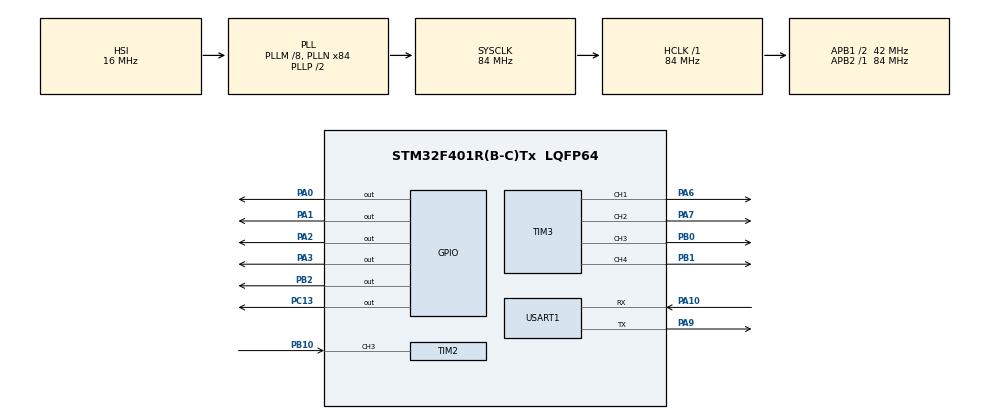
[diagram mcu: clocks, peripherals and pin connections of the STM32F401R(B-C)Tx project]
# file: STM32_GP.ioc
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Mcu.Family=STM32F4
Mcu.Name=STM32F401R(B-C)Tx
Mcu.Package=LQFP64
NVIC.PriorityGroup=NVIC_PRIORITYGROUP_4
NVIC.TIM1_UP_TIM10_IRQn=true\:0\:0\:false\:false\:true\:true\:true\:true
NVIC.TIM2_IRQn=true\:0\:0\:false\:false\:true\:true\:true\:true
PA0-WKUP.Signal=GPIO_Output
PA1.Signal=GPIO_Output
PA10.Mode=Asynchronous
PA10.Signal=USART1_RX
PA2.Signal=GPIO_Output
PA3.Signal=GPIO_Output
PA6.Signal=S_TIM3_CH1
PA7.Signal=S_TIM3_CH2
PA9.Mode=Asynchronous
PA9.Signal=USART1_TX
PB0.Signal=S_TIM3_CH3
PB1.Signal=S_TIM3_CH4
PB10.Signal=S_TIM2_CH3
PB2.Signal=GPIO_Output
PC13-ANTI_TAMP.Signal=GPIO_Output
ProjectManager.HeapSize=0x200
ProjectManager.StackSize=0x400
ProjectManager.TargetToolchain=STM32CubeIDE
RCC.48MHZClocksFreq_Value=42000000
RCC.AHBFreq_Value=84000000
RCC.APB1CLKDivider=RCC_HCLK_DIV2
RCC.APB1Freq_Value=42000000
RCC.APB1TimFreq_Value=84000000
RCC.APB2Freq_Value=84000000
RCC.APB2TimFreq_Value=84000000
RCC.CortexFreq_Value=84000000
RCC.HCLKFreq_Value=84000000
RCC.HSE_VALUE=25000000
RCC.HSI_VALUE=16000000
RCC.LSE_VALUE=32768
RCC.PLLM=8
RCC.PLLN=84
RCC.SYSCLKFreq_VALUE=84000000
RCC.SYSCLKSource=RCC_SYSCLKSOURCE_PLLCLK
RCC.VCOOutputFreq_Value=168000000
SH.S_TIM2_CH3.0=TIM2_CH3,Input_Capture3_from_TI3
SH.S_TIM3_CH1.0=TIM3_CH1,PWM Generation1 CH1
SH.S_TIM3_CH2.0=TIM3_CH2,PWM Generation2 CH2
SH.S_TIM3_CH3.0=TIM3_CH3,PWM Generation3 CH3
SH.S_TIM3_CH4.0=TIM3_CH4,PWM Generation4 CH4
TIM10.Period=60000
TIM10.Prescaler=83
TIM2.Channel-Input_Capture3_from_TI3=TIM_CHANNEL_3
TIM2.Prescaler=83
TIM3.Channel-PWM\ Generation1\ CH1=TIM_CHANNEL_1
TIM3.Channel-PWM\ Generation2\ CH2=TIM_CHANNEL_2
TIM3.Channel-PWM\ Generation3\ CH3=TIM_CHANNEL_3
TIM3.Channel-PWM\ Generation4\ CH4=TIM_CHANNEL_4
USART1.VirtualMode=VM_ASYNC
VP_CRC_VS_CRC.Mode=CRC_Activate
VP_TIM10_VS_ClockSourceINT.Mode=Enable_Timer
board=custom

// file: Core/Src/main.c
/* USER CODE BEGIN Header */
/**
  ******************************************************************************
  * @file           : main.c
  * @brief          : Main program body
  ******************************************************************************
  * @attention
  *
  * Copyright (c) 2025 STMicroelectronics.
  * All rights reserved.
  *
  * This software is licensed under terms that can be found in the LICENSE file
  * in the root directory of this software component.
  * If no LICENSE file comes with this software, it is provided AS-IS.
  *
  ******************************************************************************
  */
/* USER CODE END Header */
#include "main.h"
#include "crc.h"
#include "tim.h"
#include "usart.h"
#include "gpio.h"

/* USER CODE BEGIN Includes */
#include "ultrasonic.h"
#include "motor.h"
#include "bootloader.h"
/* USER CODE END Includes */

/* USER CODE BEGIN PV */
volatile uint16_t distance;
volatile uint8_t isReadingFinished;
/* USER CODE END PV */

void SystemClock_Config(void);

/* USER CODE BEGIN 0 */
void HAL_TIM_PeriodElapsedCallback(TIM_HandleTypeDef *htim)
{
    if (htim->Instance == TIM10)
    {
      if(isReadingFinished)
	  {
		isReadingFinished = 0;
		HAL_GPIO_TogglePin(GPIOC, GPIO_PIN_13);
		Ultrasonic_Get_Distance();
	  }
    }
}
/* USER CODE END 0 */

int main(void)
{
  /* USER CODE BEGIN 1 */
	uint8_t bt_value = 0;
	uint8_t last_bt_value = 0;
  /* USER CODE END 1 */

  /* MCU Configuration--------------------------------------------------------*/

  /* Reset of all peripherals, Initializes the Flash interface and the Systick. */
  HAL_Init();

  /* Configure the system clock */
  SystemClock_Config();

  /* Initialize all configured peripherals */
  MX_GPIO_Init();
  MX_TIM3_Init();
  MX_TIM2_Init();
  MX_USART1_UART_Init();
  MX_CRC_Init();
  MX_TIM10_Init();
  /* USER CODE BEGIN 2 */
  Rover_Initialize();
  Ultrasnoic_Initialize();
  HAL_TIM_Base_Start_IT(&htim10);
  /* USER CODE END 2 */

  /* Infinite loop */
  /* USER CODE BEGIN WHILE */
  while (1)
  {
//	  if(isReadingFinished)
//	  {
//		isReadingFinished = 0;
//
//		HAL_Delay(10);
//		Ultrasonic_Get_Distance();
//	  }

	  HAL_UART_Receive(&huart1, (uint8_t*)&bt_value, 1, 30);

	  if(bt_value)
	  {
		  if('U' == bt_value){
			  bt_value = 0;
			  Bootloader_Handle_Command();
		  }
		  else if('F' == bt_value || 'B' == bt_value || 'R' == bt_value || 'L' == bt_value)
			  last_bt_value = bt_value;
		  else
			  last_bt_value = 0;
  	  }
	  else{ bt_value = last_bt_value; }

	  switch(bt_value)
	  {
		  case 'F':
			  if(20 > distance && 0 < distance)
				  Rover_Stop();
			  else
				  Rover_Forward();
			  break;

		  case 'B':
			  Rover_Backward();
			  break;

		  case 'R':
			  Rover_Right();
			  break;

		  case 'L':
			  Rover_Left();
			  break;

		  case 'S':
			  Rover_Stop();
			  break;

		  case '1': case '2': case '3': case '4': case '5':
			  Rover_Change_Speed((bt_value - '0') * 20);
			  bt_value = 0;
			  break;
	  }

//	if(isReadingFinished){
//	  isReadingFinished = 0;
//	  if(distance < 10 && distance > 0)
//	  {
//		HAL_GPIO_WritePin(GPIOC, GPIO_PIN_13, GPIO_PIN_RESET);
//		Motor_Stop();
//		isRoverStopped = 1;
//	  }
//	  else
//	  {
//		HAL_GPIO_WritePin(GPIOC, GPIO_PIN_13, GPIO_PIN_SET);
//		if(1 == isRoverStopped)
//		{
//			Motor_Change_Speed(50);
//			isRoverStopped = 0;
//		}
//	  }
//	  HAL_Delay(20);
//	  Ultrasonic_Get_Distance();
//	}

//	Motor_Forward();
//	HAL_Delay(2000);
//	Motor_Backward();
//	HAL_Delay(2000);
//	Motor_Right();
//	HAL_Delay(2000);
//	Motor_Left();
//	HAL_Delay(2000);

//	for(int i = 0 ; i <= 100 ; i+=10)
//	{
//		Motor_Change_Speed(i);
//		HAL_Delay(100);
//	}

    /* USER CODE END WHILE */

  }
}

void SystemClock_Config(void)
{
  RCC_OscInitTypeDef RCC_OscInitStruct = {0};
  RCC_ClkInitTypeDef RCC_ClkInitStruct = {0};

  /** Configure the main internal regulator output voltage
  */
  __HAL_RCC_PWR_CLK_ENABLE();
  __HAL_PWR_VOLTAGESCALING_CONFIG(PWR_REGULATOR_VOLTAGE_SCALE2);

  /** Initializes the RCC Oscillators according to the specified parameters
  * in the RCC_OscInitTypeDef structure.
  */
  RCC_OscInitStruct.OscillatorType = RCC_OSCILLATORTYPE_HSI;
  RCC_OscInitStruct.HSIState = RCC_HSI_ON;
  RCC_OscInitStruct.HSICalibrationValue = RCC_HSICALIBRATION_DEFAULT;
  RCC_OscInitStruct.PLL.PLLState = RCC_PLL_ON;
  RCC_OscInitStruct.PLL.PLLSource = RCC_PLLSOURCE_HSI;
  RCC_OscInitStruct.PLL.PLLM = 8;
  RCC_OscInitStruct.PLL.PLLN = 84;
  RCC_OscInitStruct.PLL.PLLP = RCC_PLLP_DIV2;
  RCC_OscInitStruct.PLL.PLLQ = 4;
  if (HAL_RCC_OscConfig(&RCC_OscInitStruct) != HAL_OK)
  {
    Error_Handler();
  }

  /** Initializes the CPU, AHB and APB buses clocks
  */
  RCC_ClkInitStruct.ClockType = RCC_CLOCKTYPE_HCLK|RCC_CLOCKTYPE_SYSCLK
                              |RCC_CLOCKTYPE_PCLK1|RCC_CLOCKTYPE_PCLK2;
  RCC_ClkInitStruct.SYSCLKSource = RCC_SYSCLKSOURCE_PLLCLK;
  RCC_ClkInitStruct.AHBCLKDivider = RCC_SYSCLK_DIV1;
  RCC_ClkInitStruct.APB1CLKDivider = RCC_HCLK_DIV2;
  RCC_ClkInitStruct.APB2CLKDivider = RCC_HCLK_DIV1;

  if (HAL_RCC_ClockConfig(&RCC_ClkInitStruct, FLASH_LATENCY_2) != HAL_OK)
  {
    Error_Handler();
  }
}

void Error_Handler(void)
{
  __disable_irq();
  while (1)
  {
  }
}
